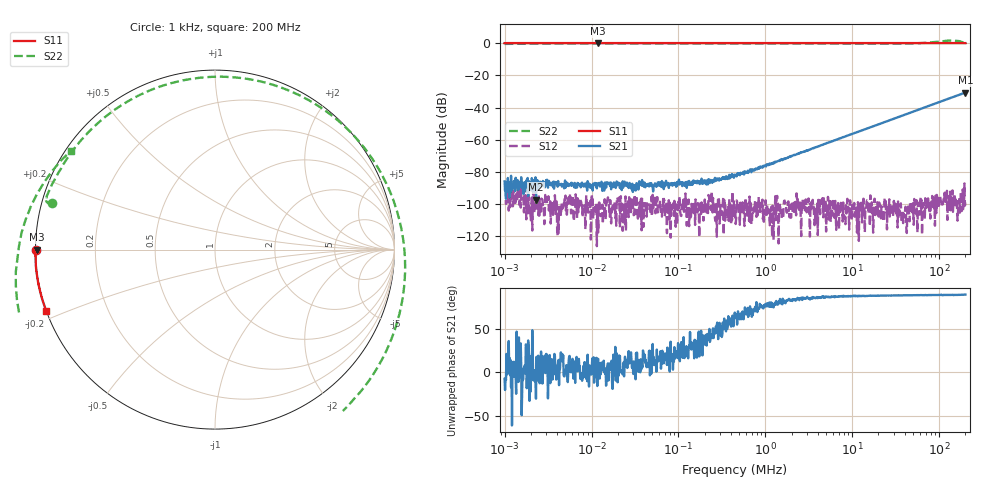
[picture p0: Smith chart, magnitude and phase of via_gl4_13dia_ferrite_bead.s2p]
! ListType=Log
# MHZ S RI R 50
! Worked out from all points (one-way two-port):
!   1000 points, 1 kHz to 200 MHz, reference 50 ohm
!   highest |S21| = -30.69 dB at 200 MHz (marker M1); lowest = -97.1 dB at 2.295 kHz (marker M2)
!   lowest |S11| = -0.1 dB at 11.95 kHz (marker M3), VSWR 309.15, Z = 0.162 - j0.0137 ohm
!   |S11| at or under -10 dB: nowhere
!   |S22| runs from -0.5 to 1.7 dB; largest |S21 - S12| = 0.029
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0.001  -0.9992 -0.000213  5.08e-05 -6.7e-06  -1.15e-05 -2.99e-05  -0.9089 0.26
0.0022953  -0.9998 -0.000733  1.21e-05 -7.1e-06  6e-06 -2.5e-06  -0.929 0.2595
0.0076941  -1 -0.000285  4.53e-05 -5.7e-06  -2.1e-06 8.4e-06  -0.9422 0.2759
0.011945  -0.9936 -0.000544  3.9e-05 1.07e-05  -1.2e-06 6e-07  -0.9435 0.2782
0.0584804  -1 -0.000118  4.52e-05 1.48e-05  1.1e-06 -7.5e-06  -0.9406 0.2882
0.4499541  -1 -0.000926  3.14e-05 6.83e-05  1.8e-06 7.1e-06  -0.9349 0.303
0.7335363  -1 -0.00144  3.81e-05 0.000104  7.2e-06 -3e-06  -0.9308 0.3128
3.419952  -1.001 -0.00647  4.71e-05 0.000532  -1.8e-06 -7.2e-06  -0.8867 0.4028
12.03851  -1.001 -0.022  6.61e-05 0.00183  -7.5e-06 -3e-07  -0.7122 0.6466
26.31347  -1 -0.0474  0.000111 0.00395  3.6e-06 -3.5e-06  -0.3118 0.9064
38.43037  -0.9994 -0.0687  0.000119 0.00575  1.2e-06 -2.3e-06  0.0882 0.9611
50.9003  -0.9979 -0.0906  0.000161 0.00759  -1e-07 -2.3e-06  0.4925 0.8486
64.99008  -0.9955 -0.1152  0.000189 0.00966  6e-06 -3.9e-06  0.8567 0.5339
81.97236  -0.9918 -0.1447  0.000212 0.0122  5.3e-06 -7.1e-06  1.057 -0.0223
92.62555  -0.9888 -0.163  0.000234 0.0137  -3.4e-06 -4.1e-06  1.016 -0.4025
103.3922  -0.9856 -0.1814  0.000252 0.0153  -9.6e-06 -1.12e-05  0.8402 -0.7545
116.8291  -0.981 -0.2044  0.000291 0.0172  1.25e-05 -4.9e-06  0.4616 -1.075
128.8255  -0.9764 -0.2246  0.00029 0.019  -1.25e-05 -1.01e-05  0.0311 -1.195
145.5678  -0.9687 -0.2531  0.000425 0.0215  5.8e-06 -1.22e-05  -0.5687 -1.06
164.4859  -0.9603 -0.2838  0.000348 0.0241  4.6e-06 -3.3e-06  -1.028 -0.5582
179.1732  -0.9521 -0.3069  0.000254 0.0261  -1.87e-05 -8.8e-06  -1.102 -0.0581
200  -0.9402 -0.3412  0.000262 0.0292  -1.29e-05 -6.6e-06  -0.8026 0.5506
